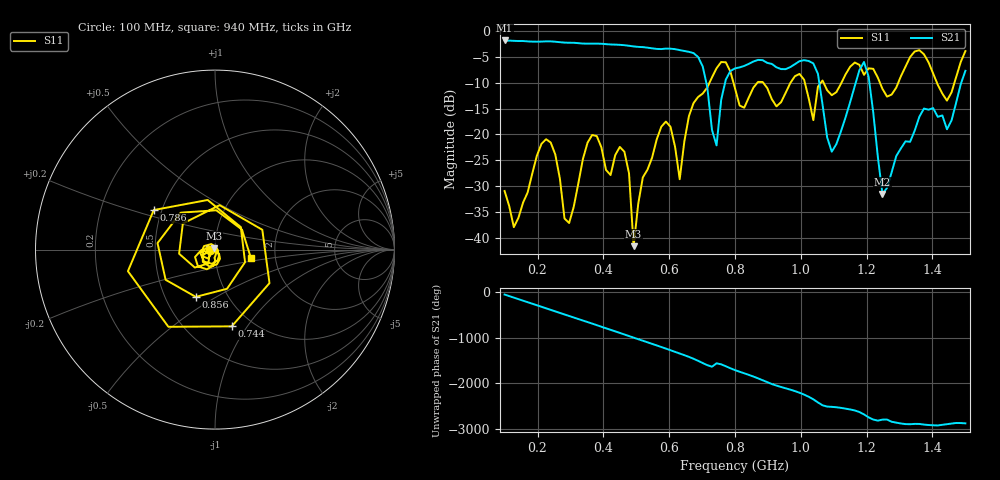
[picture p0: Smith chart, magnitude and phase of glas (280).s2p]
! NanoVNA-App
! Date: 2025-09-25 15:57:39
! Start: 100MHz Stop: 1,5GHz Points: 101
! S-Parameter data: F S11 S21 S12 S22
# Hz S RI R 50
!  Frequency  S11_Real  S11_Imag  S21_Real  S21_Imag  S12_Real  S12_Imag  S22_Real  S22_Imag
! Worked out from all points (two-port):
!   101 points, 100 MHz to 1.5 GHz, reference 50 ohm
!   highest |S21| = -1.80 dB at 100 MHz (marker M1); lowest = -31.5 dB at 1.248 GHz (marker M2)
!   |S21| within 3 dB of the highest: start of sweep to 684.2 MHz
!   lowest |S11| = -41.6 dB at 492 MHz (marker M3), VSWR 1.02, Z = 49.5 + j0.642 ohm
!   |S11| at or under -10 dB: start of sweep to 722.4 MHz; 795.4 MHz to 867.8 MHz (72.44 MHz wide, 8.71 % of centre); 885.9 MHz to 968.5 MHz (82.6 MHz wide, 8.91 % of centre)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
!   S12 and S22 are empty: the file has one direction only
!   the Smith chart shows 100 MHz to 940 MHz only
!   S11 on the Smith chart (normalised r, x): 100 MHz: 0.95, -0.01; 744 MHz: 0.80, -0.85; 786 MHz: 0.45, +0.24; 856 MHz: 0.71, -0.41; 940 MHz: 1.49, -0.15
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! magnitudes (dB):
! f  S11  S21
! 100 MHz  -30.9  -1.8
! 128 MHz  -37.9  -1.9
! 226 MHz  -20.9  -2.0
! 296 MHz  -37.1  -2.2
! 338 MHz  -24.7  -2.4
! 464 MHz  -23.4  -2.7
! 492 MHz  -41.6  -3.0
! 576 MHz  -18.5  -3.5
! 632 MHz  -28.7  -3.7
! 702 MHz  -12.1  -6.9
! 744 MHz  -7.2  -22.1
! 786 MHz  -7.8  -7.7
! 800 MHz  -11.1  -7.2
! 856 MHz  -10.9  -5.9
! 940 MHz  -13.7  -7.3
! 1.038 GHz  -17.2  -6.2
! 1.094 GHz  -12.4  -23.3
! 1.192 GHz  -8.5  -6.0
! 1.248 GHz  -11.2  -31.5
! 1.276 GHz  -12.3  -27.3
! 1.444 GHz  -13.4  -19.0
! 1.5 GHz  -3.9  -7.7
